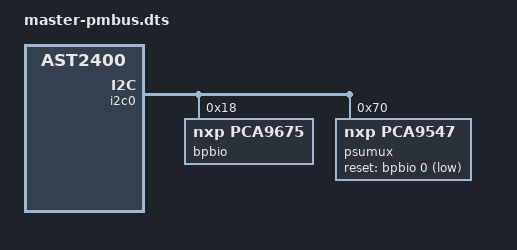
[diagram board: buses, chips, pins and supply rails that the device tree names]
/dts-v1/;
/plugin/;

#include <dt-bindings/gpio/gpio.h>
#include <dt-bindings/gpio/aspeed-gpio.h>

/ {
	compatible = "aspeed,ast2400";

	fragment@0 {
		target = <&i2c0>;
		__overlay__ {
			status = "okay";
			bpbio: gpio-expander@18 {
				compatible = "nxp,pca9675";
				gpio-controller;
				#gpio-cells = <2>;
				reg = <0x18>;
				lines-initial-states = <0x1>;
				ngpios = <16>;
				gpio-line-names = "RST_I2C", "PS_ON", "PS_OK", "PS_PRSN", "PS_ALERT",
						"RST_RMCA", "RST_RMCB", "NC_0_7", "RST_CB1", "RST_CB2",
						"RST_CB3", "RST_CB4", "RST_CB5", "RST_CB6",
						"NC_1_6", "NC_1_7";
			};

			psumux@70 {
				compatible = "nxp,pca9547";
				#address-cells = <1>;
				#size-cells = <0>;
				reg = <0x70>;
				reset-gpios = <&bpbio 0 GPIO_ACTIVE_LOW>;
				i2c-mux-idle-disconnect = <0xff>;

				shelf@0 {
					#address-cells = <1>;
					#size-cells = <0>;
					reg = <0>;
					fru {
						compatible = "atmel,24c02";
						reg = <0x50>;
						/* pagesize = <16>; */
					};

					pmbus {
						compatible = "general,pmbus";
						reg = <0x10>;
					};
				};

				shelf@1 {
					#address-cells = <1>;
					#size-cells = <0>;
					reg = <1>;

					fru {
						compatible = "atmel,24c02";
						reg = <0x50>;
						/* pagesize = <16>; */
					};

					pmbus {
						compatible = "general,pmbus";
						reg = <0x10>;
					};
				};

				shelf@2 {
					#address-cells = <1>;
					#size-cells = <0>;
					reg = <2>;

					fru {
						compatible = "atmel,24c02";
						reg = <0x50>;
						/* pagesize = <16>; */
					};

					pmbus {
						compatible = "general,pmbus";
						reg = <0x10>;
					};
				};

				shelf@3 {
					#address-cells = <1>;
					#size-cells = <0>;
					reg = <3>;

					fru {
						compatible = "atmel,24c02";
						reg = <0x50>;
						/* pagesize = <16>; */
					};

					pmbus {
						compatible = "general,pmbus";
						reg = <0x10>;
					};
				};

				shelf@4 {
					#address-cells = <1>;
					#size-cells = <0>;
					reg = <4>;

					fru {
						compatible = "atmel,24c02";
						reg = <0x50>;
						/* pagesize = <16>; */
					};

					pmbus {
						compatible = "general,pmbus";
						reg = <0x10>;
					};
				};

				shelf@5 {
					#address-cells = <1>;
					#size-cells = <0>;
					reg = <5>;

					fru {
						compatible = "atmel,24c02";
						reg = <0x50>;
						/* pagesize = <16>; */
					};

					pmbus {
						compatible = "general,pmbus";
						reg = <0x10>;
					};
				};
			};
		};
	};
};
